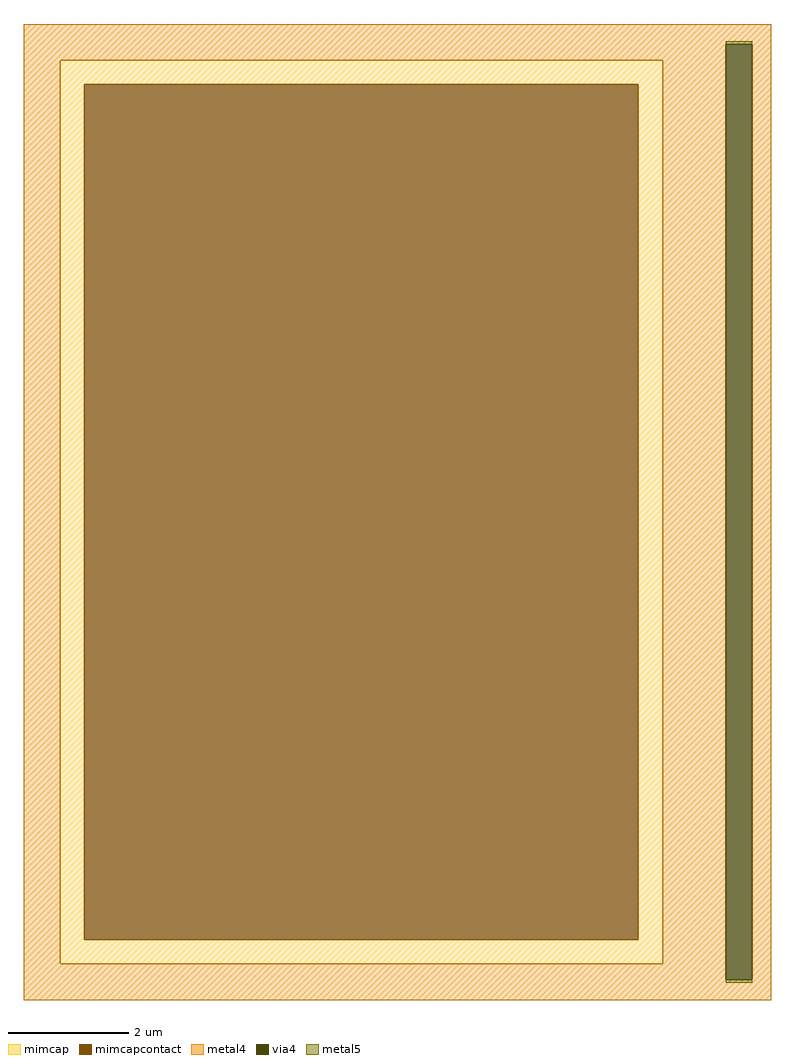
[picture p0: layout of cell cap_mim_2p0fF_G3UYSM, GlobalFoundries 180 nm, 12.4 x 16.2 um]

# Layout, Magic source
magic
tech gf180mcuD
magscale 1 10
<< mimcap >>
rect -1120 1420 880 1500
rect -1120 -1420 -1040 1420
rect 800 -1420 880 1420
rect -1120 -1500 880 -1420
<< mimcapcontact >>
rect -1040 -1420 800 1420
<< metal4 >>
rect -1240 1553 1240 1620
rect -1240 1500 1090 1553
rect -1240 -1500 -1120 1500
rect 880 -1500 1090 1500
rect -1240 -1553 1090 -1500
rect 1178 -1553 1240 1553
rect -1240 -1620 1240 -1553
<< via4 >>
rect 1090 -1553 1178 1553
<< metal5 >>
rect 1090 1553 1178 1563
rect 1090 -1563 1178 -1553
<< properties >>
string FIXED_BBOX -1240 -1620 1000 1620
string gencell cap_mim_2p0fF
string library gf180mcu
string parameters w 10 l 15 val 4.75k carea 25.00 cperi 20.00 class capacitor nx 1 ny 1 dummy 0 square 0 lmin 5.00 wmin 5.00 lmax 100.0 wmax 100.0 dc 0 bconnect 1 tconnect 1
<< end >>
